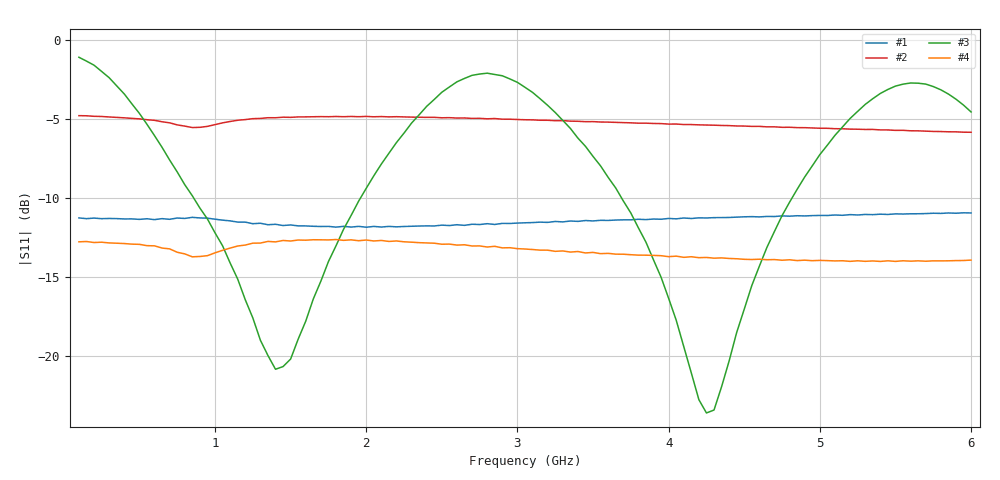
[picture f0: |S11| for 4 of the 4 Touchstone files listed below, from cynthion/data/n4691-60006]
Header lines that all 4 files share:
! Created with skrf 2.0.0 (http://scikit-rf.org).
# Hz S RI R 50.0
!freq ReS11 ImS11
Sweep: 100 MHz to 6 GHz
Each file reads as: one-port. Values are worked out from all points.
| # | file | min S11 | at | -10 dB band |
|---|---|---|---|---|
| 1 | eeprom-37.s1p | -11.9 dB | 2 GHz | over 5.9 GHz wide |
| 2 | eeprom-39.s1p | -5.9 dB | 6 GHz | - |
| 3 | eeprom-42.s1p | -23.6 dB | 4.25 GHz | 1.13 GHz wide |
| 4 | eeprom-53.s1p | -14.0 dB | 5.4 GHz | over 5.9 GHz wide |
